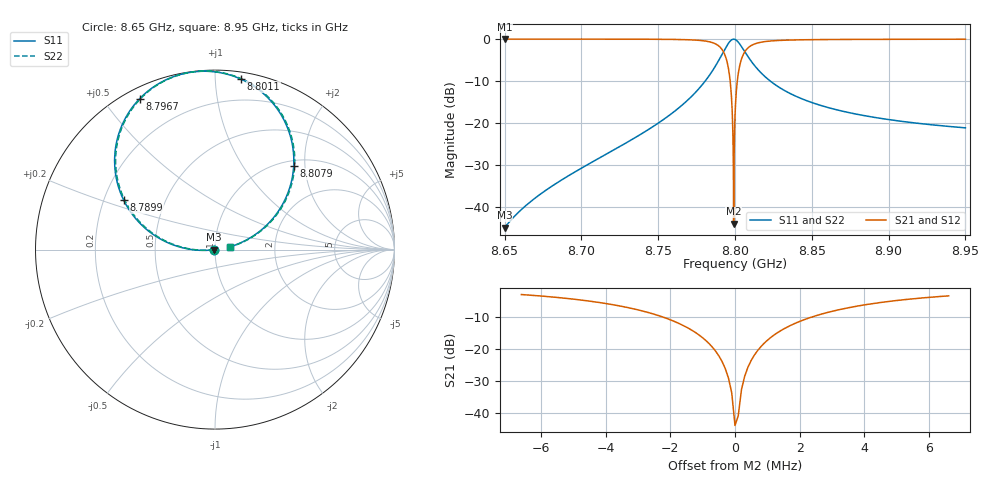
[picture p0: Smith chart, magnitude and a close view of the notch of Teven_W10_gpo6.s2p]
! Sonnet Data File
! From: emgraph Version : 16.52
! From Project: transmon_trial
! Data is De-embedded
! Data File Written: 10/20/2017 09:13:06
!< HDATE 10/19/2017 20:03:37
!< MDATE 10/19/2017 20:10:25
!< PARAMS
!< Lj = 15.24
!< Gap = 6.0
!< Width = 10.0
!< Airgap = 6.0
!< Pwidth = 2000.0
!< END PARAMS
# GHZ S MA R 51.00000
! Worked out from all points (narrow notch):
!   3001 points, 8.65 GHz to 8.95 GHz, reference 51 ohm
!   highest |S21| = 0.00 dB at 8.65 GHz (marker M1); lowest = -44.0 dB at 8.7991 GHz (marker M2)
!   notch at M2: 43.9 dB deep, 1.11 MHz wide at half that depth
!   lowest |S11| = -44.9 dB at 8.65 GHz (marker M3), VSWR 1.01, Z = 50.4 - j0.0914 ohm
!   |S11| at or under -10 dB: start of sweep to 8.7806 GHz; 8.8229 GHz to end of sweep
!   |S22| runs from -44.9 to 0.0 dB; largest |S21 - S12| = 0
!   S11 on the Smith chart (normalised r, x): 8.65 GHz: 0.99, -0.00; 8.7899 GHz: 0.28, +0.23; 8.7967 GHz: 0.04, +0.62; 8.8011 GHz: 0.05, +1.16; 8.8079 GHz: 1.11, +1.75; 8.95 GHz: 1.19, +0.04
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8.65  0.005669 -170.8  1 -82.3  1 -82.3  0.005669 -173.9
!< P1 F=8.65 Eeff=(6.44686054 -2.9785e-5) Z0=(51.7994694 1.19079e-4) R=0.0 C=0.0
!< P2 F=8.65 Eeff=(6.44686054 -2.9785e-5) Z0=(51.7994694 1.19079e-4) R=0.0 C=0.0
8.67  0.01282 -172.1  0.9999 -82.9  0.9999 -82.9  0.01282 -173.8
8.7  0.02899 -173.6  0.9996 -84.1  0.9996 -84.1  0.02899 -174.7
8.75  0.09967 -178.3  0.995 -88.6  0.995 -88.6  0.09967 -179.0
8.7789  0.289 170.3  0.957 -100.0  0.957 -100.0  0.289 169.6
8.7854  0.421 162.1  0.9065 -108.1  0.9065 -108.1  0.421 161.5
8.7899  0.5788 151.6  0.8143 -118.6  0.8143 -118.6  0.5788 150.9
8.7942  0.8053 133.1  0.5899 -137.0  0.5899 -137.0  0.8053 132.5
8.7967  0.9398 116.5  0.3349 -153.4  0.3349 -153.4  0.9398 115.9
8.7973  0.9636 111.9  0.258 -157.8  0.258 -157.8  0.9636 111.3
8.7981  0.9864 105.5  0.1486 -163.8  0.1486 -163.8  0.9864 104.9
8.7991  0.9974 97.3  0.006322 -149.4  0.006322 -149.4  0.9974 96.7
8.8  0.9901 89.9  0.1219 -1.6  0.1219 -1.6  0.9901 89.3
8.8011  0.9611 81.4  0.2679 -9.4  0.2679 -9.4  0.9611 80.8
8.8021  0.9206 74.2  0.3852 -16.4  0.3852 -16.4  0.9206 73.6
8.8035  0.8517 65.5  0.5207 -25.0  0.5207 -25.0  0.8517 64.9
8.8079  0.6402 46.8  0.7669 -43.6  0.7669 -43.6  0.6402 46.2
8.8131  0.4744 35.2  0.8797 -55.2  0.8797 -55.2  0.4744 34.6
8.8205  0.3443 26.9  0.9386 -63.4  0.9386 -63.4  0.3443 26.3
8.85  0.1754 16.5  0.9844 -73.7  0.9844 -73.7  0.1754 16.0
8.9  0.11 12.2  0.9939 -78.0  0.9939 -78.0  0.11 11.8
8.95  0.08761 10.5  0.9961 -79.8  0.9961 -79.8  0.08761 10.0
